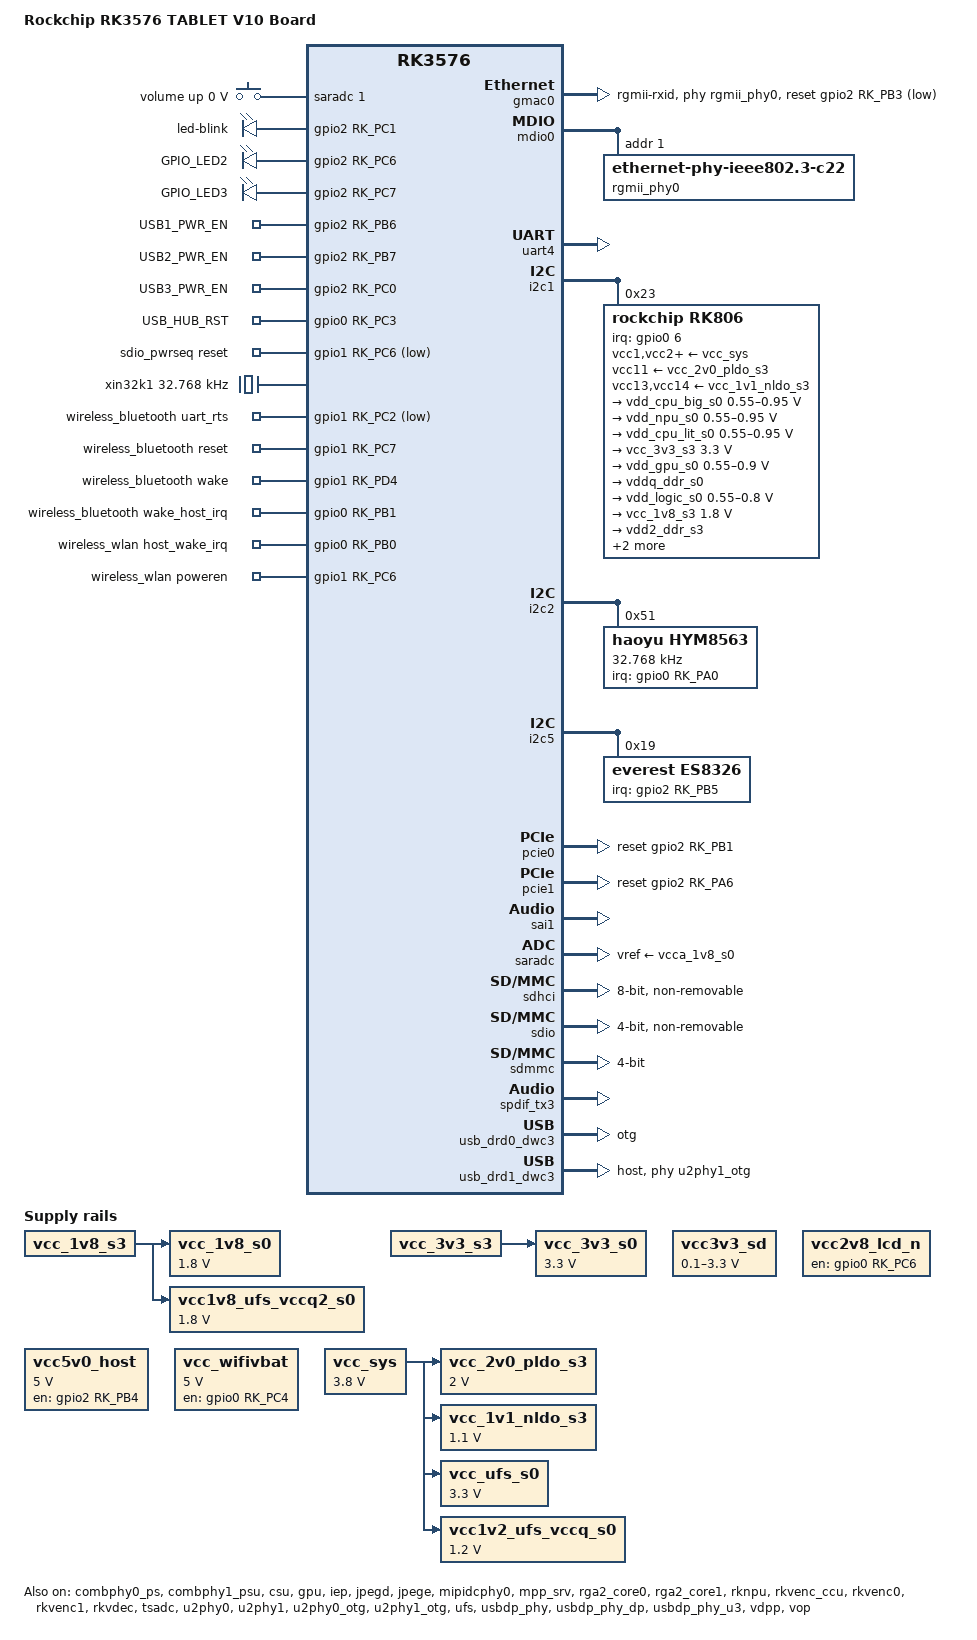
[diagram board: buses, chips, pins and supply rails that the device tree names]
// SPDX-License-Identifier: (GPL-2.0+ OR MIT)
/*
 * Copyright (c) 2024 Rockchip Electronics Co., Ltd.
 *
 */

/dts-v1/;

#include <dt-bindings/gpio/gpio.h>
#include <dt-bindings/pwm/pwm.h>
#include <dt-bindings/pinctrl/rockchip.h>
#include <dt-bindings/input/rk-input.h>
#include <dt-bindings/display/drm_mipi_dsi.h>
#include <dt-bindings/display/rockchip_vop.h>
#include <dt-bindings/sensor-dev.h>
#include <dt-bindings/usb/pd.h>
#include "rk3576.dtsi"
#include "rk3576-linux.dtsi"
//#include "screen-timing/k1pro/panel-dsi-800x1280.dtsi"
#include "screen-timing/k1pro/panel-dsi-1024x600-HKBY.dtsi"
//#include "screen-timing/k1pro/panel-dsi-600x1024-R700301.dtsi"
#include "screen-timing/k1pro/panel-hdmi.dtsi"

/ {
	model = "Rockchip RK3576 TABLET V10 Board";
	compatible = "rockchip,rk3576-tablet-v10", "rockchip,rk3576";

	adc_keys: adc-keys {
		compatible = "adc-keys";
		io-channels = <&saradc 1>;
		io-channel-names = "buttons";
		keyup-threshold-microvolt = <1800000>;
		poll-interval = <100>;

		vol-up-key {
			label = "volume up";
			linux,code = <KEY_VOLUMEUP>;
			press-threshold-microvolt = <150>;
		};
	};

	leds {
                compatible = "gpio-leds";
                status = "okay";

		SYS_STATUS {
                        gpios = <&gpio2 RK_PC1 GPIO_ACTIVE_HIGH>;
                        label = "led-blink";//创建子节点
                        linux,default-trigger = "timer";//没有默认的触发源,也可以写为timer
                        retain-state-suspended; //休眠保持运行
                };

		GPIO_LED2 {
			gpios = <&gpio2 RK_PC6 GPIO_ACTIVE_HIGH>;
                        default-state = "on";
		};

		GPIO_LED3 {
			gpios = <&gpio2 RK_PC7 GPIO_ACTIVE_HIGH>;
                        default-state = "on";
		};

		USB1_PWR_EN {
                        gpios = <&gpio2 RK_PB6 GPIO_ACTIVE_HIGH>;
                        default-state = "on";
                };

		USB2_PWR_EN {
                        gpios = <&gpio2 RK_PB7 GPIO_ACTIVE_HIGH>;
                        default-state = "on";
                };

		USB3_PWR_EN {
                        gpios = <&gpio2 RK_PC0 GPIO_ACTIVE_HIGH>;
                        default-state = "on";
                };

		USB_HUB_RST {
			gpios = <&gpio0 RK_PC3 GPIO_ACTIVE_HIGH>;
                        default-state = "on";
		};
	};

	vcc3v3_sd: vcc3v3-sd-regulator {
                compatible = "regulator-gpio";
                regulator-name = "vcc3v3_sd";
                regulator-min-microvolt = <100000>;
                regulator-max-microvolt = <3300000>;
                gpios = <&gpio0 RK_PB6 GPIO_ACTIVE_HIGH>;
                gpios-states = <0x1>;
                states = <100000 0x1
                          3300000 0x0>;
        };


	vcc2v8_lcd_n: vcc2v8-lcd0-n {
                compatible = "regulator-fixed";
                regulator-name = "vcc1v8_lcd0_n";
                regulator-boot-on;
                enable-active-high;
                regulator-always-on;
                gpio = <&gpio0 RK_PC6 GPIO_ACTIVE_HIGH>;
        };


	vcc5v0_host: vcc5v0-host {
                compatible = "regulator-fixed";
                regulator-name = "vcc5v0_host";
                regulator-boot-on;
                regulator-always-on;
                regulator-min-microvolt = <5000000>;
                regulator-max-microvolt = <5000000>;
                enable-active-high;
                gpio = <&gpio2 RK_PB4 GPIO_ACTIVE_HIGH>;
                pinctrl-names = "default";
                pinctrl-0 = <&usb_host_pwren>;
        };

	vcc_wifivbat: vcc-wifivbat {
                compatible = "regulator-fixed";
                regulator-name = "vcc_wifivbat";
                regulator-min-microvolt = <5000000>;
                regulator-max-microvolt = <5000000>;
                enable-active-high;
                regulator-boot-on;
                regulator-always-on;
                gpio = <&gpio0 RK_PC4 GPIO_ACTIVE_HIGH>;
                pinctrl-names = "default";
                pinctrl-0 = <&wifi_vbat_pwren>;
        };

/*
	vcc5v0_otg: vcc5v0-otg {
		compatible = "regulator-fixed";
		regulator-name = "vcc5v0_otg";
		regulator-min-microvolt = <5000000>;
		regulator-max-microvolt = <5000000>;
		enable-active-high;
		gpio = <&gpio0 RK_PB4 GPIO_ACTIVE_HIGH>;
		pinctrl-names = "default";
		pinctrl-0 = <&usb_otg0_pwren>;
	};
*/
	sdio_pwrseq: sdio-pwrseq {
                compatible = "mmc-pwrseq-simple";
                pinctrl-names = "default";
                pinctrl-0 = <&wifi_poweren_gpio>;

                /*
                 * On the module itself this is one of these (depending
                 * on the actual card populated):
                 * - SDIO_RESET_L_WL_REG_ON
                 * - PDN (power down when low)
                 */
                post-power-on-delay-ms = <200>;
                reset-gpios = <&gpio1 RK_PC6 GPIO_ACTIVE_LOW>;
                status = "okay";
        };

	test-power {
                status = "okay";
        };

	charge-animation {
		compatible = "rockchip,uboot-charge";
		rockchip,uboot-charge-on = <1>;
		rockchip,android-charge-on = <0>;
		rockchip,uboot-low-power-voltage = <3450>;
		rockchip,screen-on-voltage = <3500>;
		rockchip,uboot-exit-charge-level = <2>;
		rockchip,uboot-exit-charge-voltage = <3500>;
		rockchip,uboot-exit-charge-auto = <1>;
		status = "disabled";
	};

	es8326_sound: es8326-sound {
                status = "okay";
                compatible = "rockchip,multicodecs-card";
                rockchip,card-name = "rockchip-es8326";
                rockchip,format = "i2s";
                rockchip,mclk-fs = <256>;
                rockchip,cpu = <&sai1>;
                rockchip,codec = <&es8326>;
                rockchip,audio-routing =
                "Headphone", "HPOL",
                "Headphone", "HPOR",
                "Headphone", "Headphone Power",
                "Headphone", "Headphone Power",
                "MIC1", "Headset Mic",
                "MIC2", "Main Mic";
        };

	vcc_sys: vcc-sys {
		compatible = "regulator-fixed";
		regulator-name = "vcc_sys";
		regulator-always-on;
		regulator-boot-on;
		regulator-min-microvolt = <3800000>;
		regulator-max-microvolt = <3800000>;
	};

	vcc_2v0_pldo_s3: vcc-2v0-pldo-s3 {
		compatible = "regulator-fixed";
		regulator-name = "vcc_2v0_pldo_s3";
		regulator-boot-on;
		regulator-always-on;
		regulator-min-microvolt = <2000000>;
		regulator-max-microvolt = <2000000>;
		vin-supply = <&vcc_sys>;
	};

	vcc_1v1_nldo_s3: vcc-1v1-nldo-s3 {
		compatible = "regulator-fixed";
		regulator-name = "vcc_1v1_nldo_s3";
		regulator-boot-on;
		regulator-always-on;
		regulator-min-microvolt = <1100000>;
		regulator-max-microvolt = <1100000>;
		vin-supply = <&vcc_sys>;
	};

	vcc_1v8_s0: vcc-1v8-s0 {
		compatible = "regulator-fixed";
		regulator-name = "vcc_1v8_s0";
		regulator-boot-on;
		regulator-always-on;
		regulator-min-microvolt = <1800000>;
		regulator-max-microvolt = <1800000>;
		vin-supply = <&vcc_1v8_s3>;
	};

	vcc_3v3_s0: vcc-3v3-s0 {
		compatible = "regulator-fixed";
		regulator-name = "vcc_3v3_s0";
		regulator-boot-on;
		regulator-always-on;
		regulator-min-microvolt = <3300000>;
		regulator-max-microvolt = <3300000>;
		vin-supply = <&vcc_3v3_s3>;
	};

	vcc_ufs_s0: vcc-ufs-s0 {
		compatible = "regulator-fixed";
		regulator-name = "vcc_ufs_s0";
		regulator-boot-on;
		regulator-always-on;
		regulator-min-microvolt = <3300000>;
		regulator-max-microvolt = <3300000>;
		vin-supply = <&vcc_sys>;
	};

	vcc1v8_ufs_vccq2_s0: vcc1v8-ufs-vccq2-s0 {
		compatible = "regulator-fixed";
		regulator-name = "vcc1v8_ufs_vccq2_s0";
		regulator-boot-on;
		regulator-always-on;
		regulator-min-microvolt = <1800000>;
		regulator-max-microvolt = <1800000>;
		vin-supply = <&vcc_1v8_s3>;
	};

	vcc1v2_ufs_vccq_s0: vcc1v2-ufs-vccq-s0 {
		compatible = "regulator-fixed";
		regulator-name = "vcc1v2_ufs_vccq_s0";
		regulator-boot-on;
		regulator-always-on;
		regulator-min-microvolt = <1200000>;
		regulator-max-microvolt = <1200000>;
		vin-supply = <&vcc_sys>;
	};

	xin32k1: xin32k1 {
                compatible = "fixed-clock";
                clock-frequency = <32768>;
                clock-output-names = "xin32k1";
                #clock-cells = <0>;
                pinctrl-names = "default";
                pinctrl-0 = <&clk1_32k_pins>;
        };

	wireless_bluetooth: wireless-bluetooth {
		compatible = "bluetooth-platdata";
		uart_rts_gpios = <&gpio1 RK_PC2 GPIO_ACTIVE_LOW>;
		clocks = <&xin32k1>;
                clock-names = "ext_clock";
		pinctrl-names = "default", "rts_gpio";
		pinctrl-0 = <&uart4m1_rtsn>;
		pinctrl-1 = <&uart4_gpios>;
		BT,reset_gpio    = <&gpio1 RK_PC7 GPIO_ACTIVE_HIGH>;
		BT,wake_gpio     = <&gpio1 RK_PD4 GPIO_ACTIVE_HIGH>;
		BT,wake_host_irq = <&gpio0 RK_PB1 GPIO_ACTIVE_HIGH>;
		status = "okay";
	};

	wireless_wlan: wireless-wlan {
		compatible = "wlan-platdata";
		wifi_chip_type = "ap6275s";
		pinctrl-names = "default";
		pinctrl-0 = <&wifi_host_wake_irq>;
		WIFI,host_wake_irq = <&gpio0 RK_PB0 GPIO_ACTIVE_HIGH>;
		WIFI,poweren_gpio = <&gpio1 RK_PC6 GPIO_ACTIVE_HIGH>;
		status = "okay";
	};
};

&gmac0 {
        /* Use rgmii-rxid mode to disable rx delay inside Soc */
        phy-mode = "rgmii-rxid";
        clock_in_out = "output";

        snps,reset-gpio = <&gpio2 RK_PB3 GPIO_ACTIVE_LOW>;
        snps,reset-active-low;
        /* Reset time is 20ms, 100ms for rtl8211f */
        snps,reset-delays-us = <0 50000 100000>;

        pinctrl-names = "default";
        pinctrl-0 = <&eth0m0_miim
                     &eth0m0_tx_bus2
                     &eth0m0_rx_bus2
                     &eth0m0_rgmii_clk
                     &eth0m0_rgmii_bus>;

        tx_delay = <0x21>;
        /* rx_delay = <0x3f>; */

        phy-handle = <&rgmii_phy0>;
        status = "okay";
};

&mdio0 {
        rgmii_phy0: phy@1 {
                compatible = "ethernet-phy-ieee802.3-c22";
                reg = <0x1>;
        };
};

&uart4 {
       status = "okay";
       pinctrl-names = "default";
       pinctrl-0 = <&uart4m1_xfer &uart4m1_ctsn>;
};

&combphy0_ps {
	status = "okay";
};

&combphy1_psu {
        status = "okay";
	rockchip,dis-u3otg1-port;
};

&cpu_l0 {
	cpu-supply = <&vdd_cpu_lit_s0>;
};

&cpu_b0 {
	cpu-supply = <&vdd_cpu_big_s0>;
};

&csu {
	status = "okay";
};

&gpu {
	mali-supply = <&vdd_gpu_s0>;
	status = "okay";
};

&i2c1 {
	status = "okay";

	rk806: pmic@23 {
		compatible = "rockchip,rk806";
		reg = <0x23>;

		interrupt-parent = <&gpio0>;
		interrupts = <6 IRQ_TYPE_LEVEL_LOW>;

		pinctrl-names = "default", "pmic-power-off";
		pinctrl-0 = <&pmic_pins>, <&rk806_dvs1_null>, <&rk806_dvs2_null>, <&rk806_dvs3_null>;
		pinctrl-1 = <&rk806_dvs1_pwrdn>;

		/* 2800mv-3500mv */
		low_voltage_threshold = <3000>;
		/* 2700mv-3400mv */
		shutdown_voltage_threshold = <2700>;
		/* 140 160 */
		shutdown_temperture_threshold = <160>;
		hotdie_temperture_threshold = <115>;

		/* PWRON_ON_TIME: 0:500mS; 1:20mS */
		pwron-on-time-500ms;

		/* 0: restart PMU;
		 * 1: reset all the power off reset registers,
		 *    forcing the state to switch to ACTIVE mode;
		 * 2: Reset all the power off reset registers,
		 *    forcing the state to switch to ACTIVE mode,
		 *    and simultaneously pull down the RESETB PIN for 5mS before releasing
		 */
		pmic-reset-func = <1>;
		/* buck5 external feedback resister disable */
		buck5-feedback-disable;

		vcc1-supply = <&vcc_sys>;
		vcc2-supply = <&vcc_sys>;
		vcc3-supply = <&vcc_sys>;
		vcc4-supply = <&vcc_sys>;
		vcc5-supply = <&vcc_sys>;
		vcc6-supply = <&vcc_sys>;
		vcc7-supply = <&vcc_sys>;
		vcc8-supply = <&vcc_sys>;
		vcc9-supply = <&vcc_sys>;
		vcc10-supply = <&vcc_sys>;
		vcc11-supply = <&vcc_2v0_pldo_s3>;
		vcc12-supply = <&vcc_sys>;
		vcc13-supply = <&vcc_1v1_nldo_s3>;
		vcc14-supply = <&vcc_1v1_nldo_s3>;
		vcca-supply = <&vcc_sys>;

		pwrkey {
			status = "okay";
		};

		pinctrl_rk806: pinctrl_rk806 {
			gpio-controller;
			#gpio-cells = <2>;

			rk806_dvs1_null: rk806_dvs1_null {
				pins = "gpio_pwrctrl2";
				function = "pin_fun0";
			};

			rk806_dvs1_slp: rk806_dvs1_slp {
				pins = "gpio_pwrctrl1";
				function = "pin_fun1";
			};

			rk806_dvs1_pwrdn: rk806_dvs1_pwrdn {
				pins = "gpio_pwrctrl1";
				function = "pin_fun2";
			};

			rk806_dvs1_rst: rk806_dvs1_rst {
				pins = "gpio_pwrctrl1";
				function = "pin_fun3";
			};

			rk806_dvs2_null: rk806_dvs2_null {
				pins = "gpio_pwrctrl2";
				function = "pin_fun0";
			};

			rk806_dvs2_slp: rk806_dvs2_slp {
				pins = "gpio_pwrctrl2";
				function = "pin_fun1";
			};

			rk806_dvs2_pwrdn: rk806_dvs2_pwrdn {
				pins = "gpio_pwrctrl2";
				function = "pin_fun2";
			};

			rk806_dvs2_rst: rk806_dvs2_rst {
				pins = "gpio_pwrctrl2";
				function = "pin_fun3";
			};

			rk806_dvs2_dvs: rk806_dvs2_dvs {
				pins = "gpio_pwrctrl2";
				function = "pin_fun4";
			};

			rk806_dvs2_gpio: rk806_dvs2_gpio {
				pins = "gpio_pwrctrl2";
				function = "pin_fun5";
			};

			rk806_dvs3_null: rk806_dvs3_null {
				pins = "gpio_pwrctrl3";
				function = "pin_fun0";
			};

			rk806_dvs3_slp: rk806_dvs3_slp {
				pins = "gpio_pwrctrl3";
				function = "pin_fun1";
			};

			rk806_dvs3_pwrdn: rk806_dvs3_pwrdn {
				pins = "gpio_pwrctrl3";
				function = "pin_fun2";
			};

			rk806_dvs3_rst: rk806_dvs3_rst {
				pins = "gpio_pwrctrl3";
				function = "pin_fun3";
			};

			rk806_dvs3_dvs: rk806_dvs3_dvs {
				pins = "gpio_pwrctrl3";
				function = "pin_fun4";
			};

			rk806_dvs3_gpio: rk806_dvs3_gpio {
				pins = "gpio_pwrctrl3";
				function = "pin_fun5";
			};
		};

		regulators {
			vdd_cpu_big_s0: DCDC_REG1 {
				regulator-always-on;
				regulator-boot-on;
				regulator-init-microvolt = <850000>;
				regulator-min-microvolt = <550000>;
				regulator-max-microvolt = <950000>;
				regulator-ramp-delay = <12500>;
				regulator-name = "vdd_cpu_big_s0";
				regulator-enable-ramp-delay = <400>;
				regulator-state-mem {
					regulator-off-in-suspend;
				};
			};

			vdd_npu_s0: DCDC_REG2 {
				regulator-always-on;
				regulator-boot-on;
				regulator-min-microvolt = <550000>;
				regulator-max-microvolt = <950000>;
				regulator-ramp-delay = <12500>;
				regulator-name = "vdd_npu_s0";
				regulator-state-mem {
					regulator-off-in-suspend;
				};
			};

			vdd_cpu_lit_s0: DCDC_REG3 {
				regulator-always-on;
				regulator-boot-on;
				regulator-init-microvolt = <850000>;
				regulator-min-microvolt = <550000>;
				regulator-max-microvolt = <950000>;
				regulator-ramp-delay = <12500>;
				regulator-name = "vdd_cpu_lit_s0";
				regulator-state-mem {
					regulator-off-in-suspend;
					regulator-suspend-microvolt = <750000>;
				};
			};

			vcc_3v3_s3: DCDC_REG4 {
				regulator-always-on;
				regulator-boot-on;
				regulator-min-microvolt = <3300000>;
				regulator-max-microvolt = <3300000>;
				regulator-name = "vcc_3v3_s3";
				regulator-state-mem {
					regulator-on-in-suspend;
					regulator-suspend-microvolt = <3300000>;
				};
			};

			vdd_gpu_s0: DCDC_REG5 {
				regulator-boot-on;
				regulator-init-microvolt = <750000>;
				regulator-min-microvolt = <550000>;
				regulator-max-microvolt = <900000>;
				regulator-ramp-delay = <12500>;
				regulator-name = "vdd_gpu_s0";
				regulator-enable-ramp-delay = <400>;
				regulator-state-mem {
					regulator-off-in-suspend;
					regulator-suspend-microvolt = <850000>;
				};
			};

			vddq_ddr_s0: DCDC_REG6 {
				regulator-always-on;
				regulator-boot-on;
				regulator-name = "vddq_ddr_s0";
				regulator-state-mem {
					regulator-off-in-suspend;
				};
			};

			vdd_logic_s0: vdd_log_mem_s0: DCDC_REG7 {
				regulator-always-on;
				regulator-boot-on;
				regulator-init-microvolt = <750000>;
				regulator-min-microvolt = <550000>;
				regulator-max-microvolt = <800000>;
				regulator-name = "vdd_logic_s0";
				regulator-state-mem {
					regulator-off-in-suspend;
				};
			};

			vcc_1v8_s3: DCDC_REG8 {
				regulator-always-on;
				regulator-boot-on;
				regulator-min-microvolt = <1800000>;
				regulator-max-microvolt = <1800000>;
				regulator-name = "vcc_1v8_s3";
				regulator-state-mem {
					regulator-on-in-suspend;
					regulator-suspend-microvolt = <1800000>;
				};
			};

			vdd2_ddr_s3: DCDC_REG9 {
				regulator-always-on;
				regulator-boot-on;
				regulator-name = "vdd2_ddr_s3";
				regulator-state-mem {
					regulator-on-in-suspend;
				};
			};

			vdd_ddr_s0: DCDC_REG10 {
				regulator-always-on;
				regulator-boot-on;
				regulator-min-microvolt = <550000>;
				regulator-max-microvolt = <1200000>;
				regulator-name = "vdd_ddr_s0";
				regulator-state-mem {
					regulator-off-in-suspend;
				};
			};

			vcca_1v8_s0: PLDO_REG1 {
				regulator-always-on;
				regulator-boot-on;
				regulator-min-microvolt = <1800000>;
				regulator-max-microvolt = <1800000>;
				regulator-name = "vcca_1v8_s0";
				regulator-state-mem {
					regulator-off-in-suspend;
				};
			};

			vcc_1v8_cam: PLDO_REG2 {
				regulator-boot-on;
				regulator-always-on;
				regulator-min-microvolt = <1800000>;
				regulator-max-microvolt = <1800000>;
				regulator-name = "vcc_1v8_cam";
				regulator-state-mem {
					regulator-off-in-suspend;
				};
			};

			vdda_1v2_s0: PLDO_REG3 {
				regulator-always-on;
				regulator-boot-on;
				regulator-min-microvolt = <1200000>;
				regulator-max-microvolt = <1200000>;
				regulator-name = "vdda_1v2_s0";
				regulator-state-mem {
					regulator-off-in-suspend;
				};
			};

			vcca3v3_codec: PLDO_REG4 {
				regulator-always-on;
				regulator-boot-on;
				regulator-min-microvolt = <3300000>;
				regulator-max-microvolt = <3300000>;
				regulator-name = "vcca3v3_codec";
				regulator-state-mem {
					regulator-off-in-suspend;
				};
			};

			vccio_sd_s0: PLDO_REG5 {
				regulator-always-on;
				regulator-boot-on;
				regulator-min-microvolt = <1800000>;
				regulator-max-microvolt = <3300000>;
				regulator-name = "vccio_sd_s0";
				regulator-state-mem {
					regulator-off-in-suspend;
				};
			};

			vcca1v8_pldo6_s3: PLDO_REG6 {
				regulator-always-on;
				regulator-boot-on;
				regulator-min-microvolt = <1800000>;
				regulator-max-microvolt = <1800000>;
				regulator-name = "vcca1v8_pldo6_s3";
				regulator-state-mem {
					regulator-on-in-suspend;
					regulator-suspend-microvolt = <1800000>;
				};
			};

			vdd_0v75_s3: NLDO_REG1 {
				regulator-always-on;
				regulator-boot-on;
				regulator-min-microvolt = <750000>;
				regulator-max-microvolt = <750000>;
				regulator-name = "vdd_0v75_s3";
				regulator-state-mem {
					regulator-on-in-suspend;
					regulator-suspend-microvolt = <750000>;
				};
			};

			vdda_ddr_pll_s0: NLDO_REG2 {
				regulator-always-on;
				regulator-boot-on;
				regulator-min-microvolt = <850000>;
				regulator-max-microvolt = <850000>;
				regulator-name = "vdda_ddr_pll_s0";
				regulator-state-mem {
					regulator-off-in-suspend;
				};
			};

			vdda0v75_hdmi_s0: NLDO_REG3 {
				regulator-always-on;
				regulator-boot-on;
				regulator-min-microvolt = <750000>;
				regulator-max-microvolt = <750000>;
				regulator-name = "vdda0v75_hdmi_s0";
				regulator-state-mem {
					regulator-off-in-suspend;
				};
			};

			vdda_0v85_s0: NLDO_REG4 {
				regulator-always-on;
				regulator-boot-on;
				regulator-min-microvolt = <850000>;
				regulator-max-microvolt = <850000>;
				regulator-name = "vdda_0v85_s0";
				regulator-state-mem {
					regulator-off-in-suspend;
				};
			};

			vdda_0v75_s0: NLDO_REG5 {
				regulator-always-on;
				regulator-boot-on;
				regulator-min-microvolt = <750000>;
				regulator-max-microvolt = <750000>;
				regulator-name = "vdda_0v75_s0";
				regulator-state-mem {
					regulator-off-in-suspend;
				};
			};
		};
	};
};

&i2c2 {
	status = "okay";

	hym8563: hym8563@51 {
                compatible = "haoyu,hym8563";
                reg = <0x51>;
                #clock-cells = <0>;
                clock-frequency = <32768>;
                clock-output-names = "hym8563";
                pinctrl-names = "default";
                pinctrl-0 = <&rtc_int>;

                interrupt-parent = <&gpio0>;
                interrupts = <RK_PA0 IRQ_TYPE_LEVEL_LOW>;
                wakeup-source;
                status = "okay";
        };
};

&i2c5 {
	status = "okay";
	pinctrl-names = "default";
        pinctrl-0 = <&i2c5m3_xfer>;

	es8326: es8326@19 {
                status = "okay";
                #sound-dai-cells = <0>;
                compatible = "everest,es8326";
                reg = <0x19>;
		interrupt-parent = <&gpio2>;
                interrupts = <RK_PB5 IRQ_TYPE_LEVEL_LOW>;
		clocks = <&mclkout_sai1>;
                clock-names = "mclk";
                assigned-clocks = <&mclkout_sai1>;
                assigned-clock-rates = <12288000>;
                pinctrl-names = "default";
                pinctrl-0 = <&sai1m0_mclk>;
                mclk-rate = <12288000>;
		everest,mic1-src = [55];
                everest,mic2-src = [55];
                jack-pol = [0e];
        };
};

&iep {
	status = "okay";
};

&iep_mmu {
	status = "okay";
};

&jpegd {
	status = "okay";
};

&jpege {
	status = "okay";
};

&jpeg_mmu {
	status = "okay";
};

&mipidcphy0 {
	status = "okay";
};

&mpp_srv {
	status = "okay";
};

&pinctrl {
	charger {
		charger_ok: charger_ok {
			rockchip,pins =
				<0 RK_PD2 RK_FUNC_GPIO &pcfg_pull_up>,
				<2 RK_PC7 RK_FUNC_GPIO &pcfg_pull_up>;
		};
	};

	headphone {
		hp_det: hp-det {
			rockchip,pins = <2 RK_PD3 RK_FUNC_GPIO &pcfg_pull_up>;
		};
	};

	hym8563 {
		rtc_int: rtc-int {
			rockchip,pins = <0 RK_PA0 RK_FUNC_GPIO &pcfg_pull_up>;
		};
	};

	lcd {
		lcd_rst_gpio: lcd-rst-gpio {
			rockchip,pins = <0 RK_PC7 RK_FUNC_GPIO &pcfg_pull_none>;
		};

		lcd_enable_gpio: lcd-enable-gpio {
			rockchip,pins = <0 RK_PC6 RK_FUNC_GPIO &pcfg_pull_none>;
		};
		backlight_pwren: backlight-pwren {
			rockchip,pins = <2 RK_PB1 RK_FUNC_GPIO &pcfg_pull_none>;
		};
		backlight_edp_pwren: backlight-edp-pwren {
			rockchip,pins = <2 RK_PB5 RK_FUNC_GPIO &pcfg_pull_none>;
		};
	};

	touch {
		touch_gpio: touch-gpio {
			rockchip,pins =
				<0 RK_PB4 RK_FUNC_GPIO &pcfg_pull_up>,
				<0 RK_PC5 RK_FUNC_GPIO &pcfg_pull_up>;
		};
	};

	tp {
                tp_gpio: tp-gpio {
                        rockchip,pins =
                                <0 RK_PC5 RK_FUNC_GPIO &pcfg_pull_down>,
                                <0 RK_PD0 RK_FUNC_GPIO &pcfg_pull_up>;
                };
        };

	usb {
		usbc0_int: usbc0-int {
			rockchip,pins = <0 RK_PD1 RK_FUNC_GPIO &pcfg_pull_up>;
		};

		usb_host_pwren: usb-host-pwren {
                        rockchip,pins = <2 RK_PB4 RK_FUNC_GPIO &pcfg_pull_none>;
                };	

		usb_otg0_pwren: usb-otg0-pwren {
			rockchip,pins = <0 RK_PB4 RK_FUNC_GPIO &pcfg_pull_none>;
		};

		usb_pwren: usb-pwren {
			rockchip,pins = <0 RK_PD3 RK_FUNC_GPIO &pcfg_pull_none>;
		};
	};

	wireless-bluetooth {
		uart4_gpios: uart4-gpios {
			rockchip,pins = <1 RK_PC2 RK_FUNC_GPIO &pcfg_pull_none>;
		};
	};

	wireless-wlan {
		wifi_host_wake_irq: wifi-host-wake-irq {
			rockchip,pins = <0 RK_PB0 RK_FUNC_GPIO &pcfg_pull_down>;
		};

		wifi_poweren_gpio: wifi-poweren-gpio {
			rockchip,pins = <1 RK_PC6 RK_FUNC_GPIO &pcfg_pull_up>;
		};

		wifi_vbat_pwren: wifi-vbat-pwren {
			rockchip,pins = <0 RK_PC4 RK_FUNC_GPIO &pcfg_pull_up>;
		};

		amp_pwren: amp-pwren {
			rockchip,pins = <4 RK_PC5 RK_FUNC_GPIO &pcfg_pull_up>;
		};
	};

	chare_led {
                chg_led:chg-led {
                        rockchip,pins =
                                <2 RK_PC5 RK_FUNC_GPIO &pcfg_pull_none>,
                                <2 RK_PC6 RK_FUNC_GPIO &pcfg_pull_none>;
                };
        };
};

&pcie0 {
        reset-gpios = <&gpio2 RK_PB1 GPIO_ACTIVE_HIGH>;
        //vpcie3v3-supply = <&vcc3v3_pcie1>;
        status = "okay";
};

&pcie1 {
        reset-gpios = <&gpio2 RK_PA6 GPIO_ACTIVE_HIGH>;
        status = "okay";
};

&rga2_core0 {
	status = "okay";
};

&rga2_core0_mmu {
	status = "okay";
};

&rga2_core1 {
	status = "okay";
};

&rga2_core1_mmu {
	status = "okay";
};

&rknpu {
	rknpu-supply = <&vdd_npu_s0>;
	status = "okay";
};

&rknpu_mmu {
	status = "okay";
};

&rkvenc_ccu {
	status = "okay";
};

&rkvenc0 {
	status = "okay";
};

&rkvenc0_mmu {
	status = "okay";
};

&rkvenc1 {
	status = "okay";
};

&rkvenc1_mmu {
	status = "okay";

};

&rkvdec {
	status = "okay";
};

&rkvdec_mmu {
	status = "okay";
};

&rockchip_suspend {
	status = "okay";
	rockchip,sleep-debug-en = <1>;

	rockchip,sleep-io-ret-config = <
		(0
		| RKPM_VCCIO3_RET_EN
		)
	>;
};

&sai1 {
        status = "okay";
        pinctrl-names = "default";
        pinctrl-0 = <&sai1m0_lrck
                     &sai1m0_sclk
                     &sai1m0_sdi0
                     &sai1m0_sdo2>;
};

&saradc {
	status = "okay";
	vref-supply = <&vcca_1v8_s0>;
};

&sdhci {
	bus-width = <8>;
	no-sdio;
	no-sd;
	non-removable;
	max-frequency = <200000000>;
	mmc-hs400-1_8v;
	mmc-hs400-enhanced-strobe;
	full-pwr-cycle-in-suspend;
	status = "okay";
};

&sdio {
        max-frequency = <200000000>;
        no-sd;
        no-mmc;
        bus-width = <4>;
        disable-wp;
        cap-sd-highspeed;
        cap-sdio-irq;
        keep-power-in-suspend;
        mmc-pwrseq = <&sdio_pwrseq>;
        non-removable;
        pinctrl-names = "default";
        pinctrl-0 = <&sdmmc1m0_bus4 &sdmmc1m0_clk &sdmmc1m0_cmd>;
        sd-uhs-sdr104;
        status = "okay";
};

&sdmmc {
	max-frequency = <200000000>;
	no-sdio;
	no-mmc;
	bus-width = <4>;
	cap-mmc-highspeed;
	cap-sd-highspeed;
	disable-wp;
	sd-uhs-sdr104;
	mmc-supply = <&vcc3v3_sd>;
	vqmmc-supply = <&vccio_sd_s0>;
	status = "okay";
};

&spdif_tx3 {
	status = "okay";
};

&tsadc {
	status = "okay";
};

&u2phy0 {
	status = "okay";
};

&u2phy1 {
        status = "okay";
};

&u2phy0_otg {
	status = "okay";
	//phy-supply = <&vcc5v0_otg>;
	//vbus-supply = <&vcc5v0_otg>;
};

&u2phy1_otg {
	phy-supply = <&vcc5v0_host>;
        status = "okay";
};

&ufs {
	reset-gpios = <&gpio4 RK_PD0 GPIO_ACTIVE_HIGH>;
	status = "okay";
};

&usbdp_phy {
        rockchip,dp-lane-mux = <2 3>;
        status = "okay";
};

&usbdp_phy_dp {
        status = "okay";
};

&usbdp_phy_u3 {
        status = "okay";
};

&usb_drd0_dwc3 {
	status = "okay";
	dr_mode = "otg";
	extcon = <&u2phy0>;
};

&usb_drd1_dwc3 {
	status = "okay";
	dr_mode = "host";
	phys = <&u2phy1_otg>, <&combphy1_psu PHY_TYPE_USB3>; 
	phy-names = "usb2-phy", "usb3-phy";
	maximum-speed = "high-speed";
	snps,dis_u2_susphy_quirk;
	snps,usb2-lpm-disable;
};

&vdpp {
	status = "okay";
};

&vop {
	status = "okay";
	vop-supply = <&vdd_logic_s0>;
};

&vop_mmu {
	status = "okay";
};

&vp1 {
	assigned-clocks = <&cru DCLK_VP1_SRC>;
	assigned-clock-parents = <&cru PLL_VPLL>;
};
